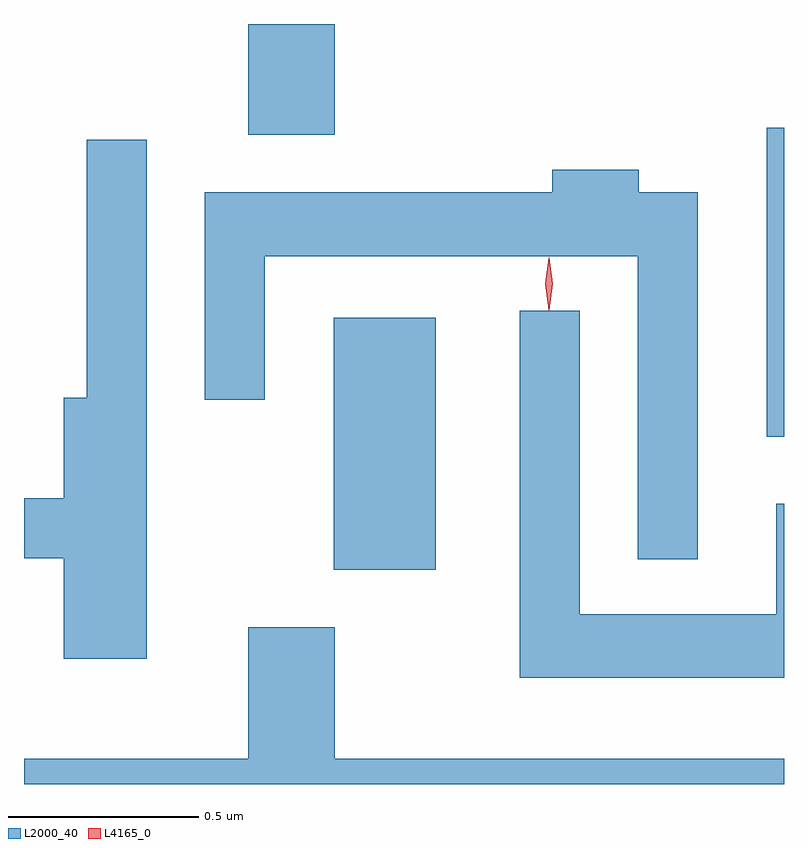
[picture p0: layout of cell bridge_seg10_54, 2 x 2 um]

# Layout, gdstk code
import gdstk
lib = gdstk.Library(unit=1e-6, precision=1e-09)
def R(c, l, rs):  # rectangles x0, y0, x1, y1
    for r in rs: c.add(gdstk.rectangle(r[:2], r[2:], *l))
def P(c, l, *ps):  # polygons
    for p in ps: c.add(gdstk.Polygon(p, *l))
L2000_40 = (2000, 40)
L4165_0 = (4165, 0)

bridge_seg10_54 = lib.new_cell('bridge_seg10_54')
R(bridge_seg10_54, L2000_40, [(1589.446,2203.481,1589.714,2204.144), (1590.586,2203.831,1590.631,2204.644), (1589.221,2204.626,1589.449,2204.917)])
P(bridge_seg10_54, L2000_40, [(1588.954,2204.613),(1588.796,2204.613),(1588.796,2203.934),(1588.736,2203.934),(1588.736,2203.669),(1588.631,2203.669),(1588.631,2203.511),(1588.736,2203.511),(1588.736,2203.246),(1588.954,2203.246)],
  [(1590.404,2204.474),(1590.249,2204.474),(1590.249,2204.534),(1590.021,2204.534),(1590.021,2204.474),(1589.106,2204.474),(1589.106,2203.928),(1589.264,2203.928),(1589.264,2204.306),(1590.246,2204.306),(1590.246,2203.508),(1590.404,2203.508)],
  [(1590.631,2203.654),(1590.611,2203.654),(1590.611,2203.364),(1590.094,2203.364),(1590.094,2204.163),(1589.936,2204.163),(1589.936,2203.196),(1590.631,2203.196)],
  [(1590.631,2202.984),(1589.449,2202.984),(1589.449,2203.329),(1589.221,2203.329),(1589.221,2202.984),(1588.631,2202.984),(1588.631,2202.917),(1590.631,2202.917)])
P(bridge_seg10_54, L4165_0, [(1590.012,2204.164),(1590.003,2204.233),(1590.012,2204.302),(1590.013,2204.303),(1590.013,2204.302),(1590.023,2204.233),(1590.013,2204.164),(1590.013,2204.164)],
  [(1590.013,2204.167),(1590.012,2204.168),(1590.003,2204.234),(1590.012,2204.3),(1590.013,2204.3),(1590.013,2204.3),(1590.023,2204.234),(1590.013,2204.168)])

lib.write_gds('bridge_seg10_54.gds')
